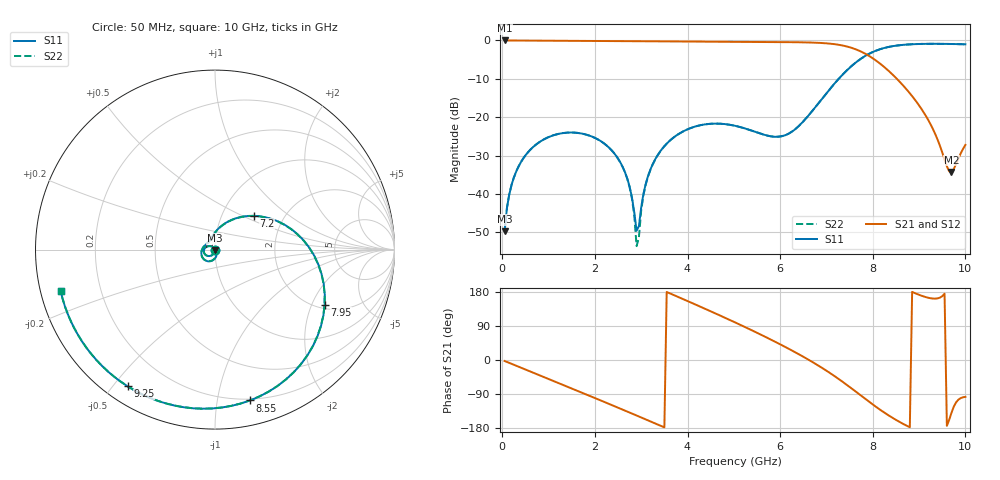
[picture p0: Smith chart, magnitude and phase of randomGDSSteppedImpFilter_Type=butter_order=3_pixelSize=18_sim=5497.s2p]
! freq	dB(S11)	phase(S11)	dB(S12)	phase(S12)
!  dB(S21)	phase(S21)	dB(S22)	phase(S22)
!S-par simulation data
#  GHz  S  DB  R 50
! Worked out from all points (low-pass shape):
!   200 points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, 50 MHz to 10 GHz, reference 50 ohm
!   highest |S21| = 0.00 dB at 50 MHz (marker M1); lowest = -34.3 dB at 9.7 GHz (marker M2)
!   |S21| within 3 dB of the highest: start of sweep to 7.765 GHz
!   lowest |S11| = -49.7 dB at 50 MHz (marker M3), VSWR 1.01, Z = 50 - j0.328 ohm
!   |S11| at or under -10 dB: start of sweep to 7.264 GHz
!   |S22| runs from -53.6 to -0.9 dB; largest |S21 - S12| = 0
!   S11 on the Smith chart (normalised r, x): 50 MHz: 1.00, -0.01; 7.2 GHz: 1.41, +0.58; 7.95 GHz: 2.16, -2.50; 8.55 GHz: 0.19, -1.24; 9.25 GHz: 0.07, -0.55; 10 GHz: 0.06, -0.13
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0.05  -49.69 -91.0  -0.00 -2.6  -0.00 -2.6  -49.69 -91.0
0.2  -37.63 -99.3  -0.02 -10.1  -0.02 -10.1  -37.63 -99.3
0.55  -29.19 -117.7  -0.04 -27.6  -0.04 -27.6  -29.19 -117.6
1.2  -24.38 -151.4  -0.08 -60.2  -0.08 -60.2  -24.38 -151.1
1.75  -24.34 -180.0  -0.12 -87.7  -0.12 -87.7  -24.34 -179.3
2.6  -32.96 131.7  -0.16 -131.0  -0.16 -131.0  -33.00 135.0
2.8  -40.90 109.7  -0.17 -141.3  -0.17 -141.3  -41.22 118.9
2.9  -49.57 56.1  -0.18 -146.5  -0.18 -146.5  -53.59 70.9
3.1  -37.24 -54.3  -0.19 -156.9  -0.19 -156.9  -37.43 -61.2
3.4  -29.06 -77.5  -0.22 -172.6  -0.22 -172.6  -29.10 -80.5
4.15  -22.47 -119.7  -0.30 147.5  -0.30 147.5  -22.49 -121.4
5.05  -22.30 -169.7  -0.37 97.9  -0.37 97.9  -22.31 -171.4
5.8  -24.98 143.8  -0.41 53.8  -0.41 53.8  -24.97 141.7
6.7  -18.27 79.6  -0.56 -5.5  -0.56 -5.5  -18.26 78.9
7.2  -10.87 41.1  -1.01 -44.6  -1.01 -44.6  -10.87 40.9
7.55  -6.58 10.4  -1.95 -75.7  -1.95 -75.7  -6.58 10.3
7.95  -3.30 -26.8  -4.25 -112.9  -4.25 -112.9  -3.30 -26.9
8.35  -1.67 -61.4  -8.01 -146.8  -8.01 -146.8  -1.67 -61.6
8.55  -1.28 -76.9  -10.37 -161.5  -10.37 -161.5  -1.28 -77.0
9.25  -0.88 -122.5  -21.89 162.9  -21.89 162.9  -0.88 -122.7
9.7  -0.92 -148.1  -34.29 -139.2  -34.29 -139.2  -0.92 -148.4
10  -1.01 -164.8  -27.21 -97.3  -27.21 -97.3  -1.01 -165.1
